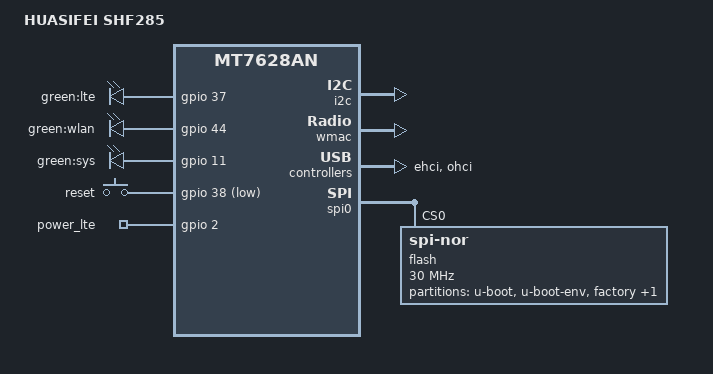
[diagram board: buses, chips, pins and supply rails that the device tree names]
// SPDX-License-Identifier: GPL-2.0-or-later OR MIT

#include "mt7628an.dtsi"

#include <dt-bindings/gpio/gpio.h>
#include <dt-bindings/input/input.h>

/ {
	compatible = "huasifei,shf285", "mediatek,mt7628an-soc";
	model = "HUASIFEI SHF285";

	aliases {
		led-boot = &led_sys;
		led-failsafe = &led_sys;
		led-running = &led_sys;
		led-upgrade = &led_sys;
		label-mac-device = &ethernet;
	};

	chosen {
		bootargs = "console=ttyS0,115200";
	};

	leds {
		compatible = "gpio-leds";

		lte {
			label = "green:lte";
			gpios = <&gpio 37 GPIO_ACTIVE_HIGH>;
		};

		wlan {
			label = "green:wlan";
			gpios = <&gpio 44 GPIO_ACTIVE_HIGH>;
		};

		led_sys: sys {
			label = "green:sys";
			gpios = <&gpio 11 GPIO_ACTIVE_HIGH>;
		};
	};

	gpio-keys {
		compatible = "gpio-keys";

		reset {
			label = "reset";
			gpios = <&gpio 38 GPIO_ACTIVE_LOW>;
			linux,code = <KEY_RESTART>;
		};
	};

	gpio-export {
		compatible = "gpio-export";

		power_lte {
			gpio-export,name = "power_lte";
			gpio-export,output = <1>;
			gpios = <&gpio 2 GPIO_ACTIVE_HIGH>;
		};
	};
};

&state_default {
	gpio {
		groups = "i2s", "refclk", "wdt", "wled_an", "gpio";
		function = "gpio";
	};
};

&i2c {
	status = "okay";
};

&esw {
	mediatek,portmap = <0x1e>;      
	mediatek,portdisable = <0x20>;  
};

&wmac {
	status = "okay";
};

&ethernet {
	mtd-mac-address = <&factory 0x4>;
};

&ehci {
	status = "okay";
};

&ohci {
	status = "okay";
};

&spi0 {
	status = "okay";

	flash@0 {
		compatible = "jedec,spi-nor";
		reg = <0>;
		spi-max-frequency = <30000000>;

		partitions {
			compatible = "fixed-partitions";
			#address-cells = <1>;
			#size-cells = <1>;

			partition@0 {
				label = "u-boot";
				reg = <0x0 0x30000>;
				read-only;
			};

			partition@30000 {
				label = "u-boot-env";
				reg = <0x30000 0x10000>;
				read-only;
			};

			factory: partition@40000 {
				label = "factory";
				reg = <0x40000 0x10000>;
			};

			partition@50000 {
				compatible = "denx,uimage";
				label = "firmware";
				reg = <0x50000 0xfb0000>;
			};
		};
	};
};
